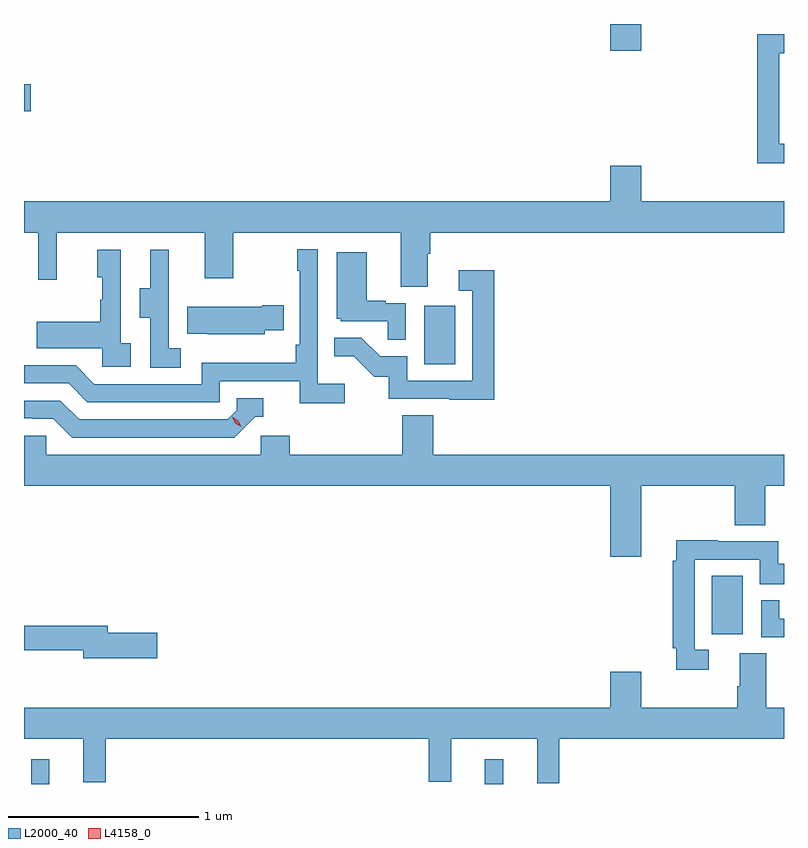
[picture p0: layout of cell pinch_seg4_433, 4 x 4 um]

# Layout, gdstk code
import gdstk
lib = gdstk.Library(unit=1e-6, precision=1e-09)
def R(c, l, rs):  # rectangles x0, y0, x1, y1
    for r in rs: c.add(gdstk.rectangle(r[:2], r[2:], *l))
def P(c, l, *ps):  # polygons
    for p in ps: c.add(gdstk.Polygon(p, *l))
L2000_40 = (2000, 40)
L4158_0 = (4158, 0)

pinch_seg4_433 = lib.new_cell('pinch_seg4_433')
R(pinch_seg4_433, L2000_40, [(941.18,779.266,941.277,779.395), (943.569,779.266,943.666,779.395), (944.762,780.054,944.926,780.361), (943.25,781.476,943.414,781.783), (941.143,782.806,941.179,782.948), (944.228,783.126,944.392,783.266)])
P(pinch_seg4_433, L2000_40, [(945.143,782.637),(945.117,782.637),(945.117,783.111),(945.143,783.111),(945.143,783.212),(945.001,783.212),(945.001,782.532),(945.143,782.532)],
  [(943.267,782.056),(943.28,782.056),(943.28,782.168),(945.143,782.168),(945.143,782.332),(944.392,782.332),(944.392,782.521),(944.228,782.521),(944.228,782.332),(941.143,782.332),(941.143,782.168),(941.217,782.168),(941.217,781.92),(941.315,781.92),(941.315,782.168),(942.095,782.168),(942.095,781.929),(942.243,781.929),(942.243,782.168),(943.127,782.168),(943.127,781.882),(943.267,781.882)],
  [(942.832,781.372),(942.69,781.372),(942.69,782.08),(942.582,782.08),(942.582,781.967),(942.594,781.967),(942.594,781.579),(942.574,781.579),(942.574,781.483),(942.078,781.483),(942.078,781.371),(941.514,781.371),(941.415,781.47),(941.143,781.47),(941.143,781.374),(941.378,781.374),(941.477,781.275),(942.174,781.275),(942.174,781.386),(942.593,781.386),(942.593,781.27),(942.832,781.27)],
  [(941.704,781.586),(941.652,781.586),(941.652,782.077),(941.528,782.077),(941.528,781.932),(941.554,781.932),(941.554,781.814),(941.544,781.814),(941.544,781.699),(941.209,781.699),(941.209,781.559),(941.556,781.559),(941.556,781.461),(941.704,781.461)],
  [(941.968,781.559),(941.904,781.559),(941.904,781.863),(941.906,781.863),(941.906,782.077),(941.807,782.077),(941.807,781.875),(941.753,781.875),(941.753,781.72),(941.808,781.72),(941.808,781.456),(941.968,781.456)],
  [(943.152,781.797),(943.046,781.797),(943.046,781.81),(942.946,781.81),(942.946,782.065),(942.788,782.065),(942.788,781.716),(942.81,781.716),(942.81,781.701),(943.057,781.701),(943.057,781.603),(943.152,781.603)],
  [(943.619,781.969),(943.431,781.969),(943.431,781.863),(943.503,781.863),(943.503,781.389),(943.161,781.389),(943.161,781.518),(943.017,781.518),(942.919,781.616),(942.775,781.616),(942.775,781.517),(942.879,781.517),(942.986,781.41),(943.063,781.41),(943.063,781.293),(943.381,781.293),(943.381,781.288),(943.619,781.288)],
  [(942.411,781.655),(942.509,781.655),(942.509,781.785),(942.398,781.785),(942.398,781.777),(942.001,781.777),(942.001,781.637),(942.109,781.637),(942.109,781.634),(942.411,781.634)],
  [(942.36,781.2),(942.403,781.2),(942.403,781.296),(942.264,781.296),(942.264,781.233),(942.216,781.185),(941.433,781.185),(941.334,781.284),(941.143,781.284),(941.143,781.191),(941.19,781.191),(941.19,781.188),(941.297,781.188),(941.396,781.089),(942.249,781.089)],
  [(944.392,780.836),(944.884,780.836),(944.884,780.628),(945.044,780.628),(945.044,780.836),(945.143,780.836),(945.143,781),(943.298,781),(943.298,781.208),(943.133,781.208),(943.133,781),(942.542,781),(942.542,781.098),(942.39,781.098),(942.39,781),(941.259,781),(941.259,781.098),(941.143,781.098),(941.143,780.836),(944.228,780.836),(944.228,780.462),(944.392,780.462)],
  [(944.746,779.973),(944.673,779.973),(944.673,780.447),(945.015,780.447),(945.015,780.318),(945.143,780.318),(945.143,780.426),(945.114,780.426),(945.114,780.543),(944.795,780.543),(944.795,780.548),(944.576,780.548),(944.576,780.44),(944.557,780.44),(944.557,779.98),(944.576,779.98),(944.576,779.868),(944.746,779.868)],
  [(945.143,780.135),(945.119,780.135),(945.119,780.233),(945.024,780.233),(945.024,780.039),(945.143,780.039)],
  [(941.845,780.062),(941.584,780.062),(941.584,780.098),(941.143,780.098),(941.143,779.97),(941.456,779.97),(941.456,779.927),(941.845,779.927)],
  [(943.961,779.504),(945.143,779.504),(945.143,779.668),(945.049,779.668),(945.049,779.954),(944.909,779.954),(944.909,779.78),(944.897,779.78),(944.897,779.668),(944.392,779.668),(944.392,779.857),(944.228,779.857),(944.228,779.668),(941.143,779.668),(941.143,779.504),(941.456,779.504),(941.456,779.276),(941.573,779.276),(941.573,779.504),(943.273,779.504),(943.273,779.279),(943.391,779.279),(943.391,779.504),(943.844,779.504),(943.844,779.271),(943.961,779.271)])
P(pinch_seg4_433, L4158_0, [(942.287,781.147),(942.256,781.166),(942.239,781.198),(942.239,781.198),(942.239,781.198),(942.27,781.179),(942.287,781.147),(942.287,781.147)])

lib.write_gds('pinch_seg4_433.gds')
